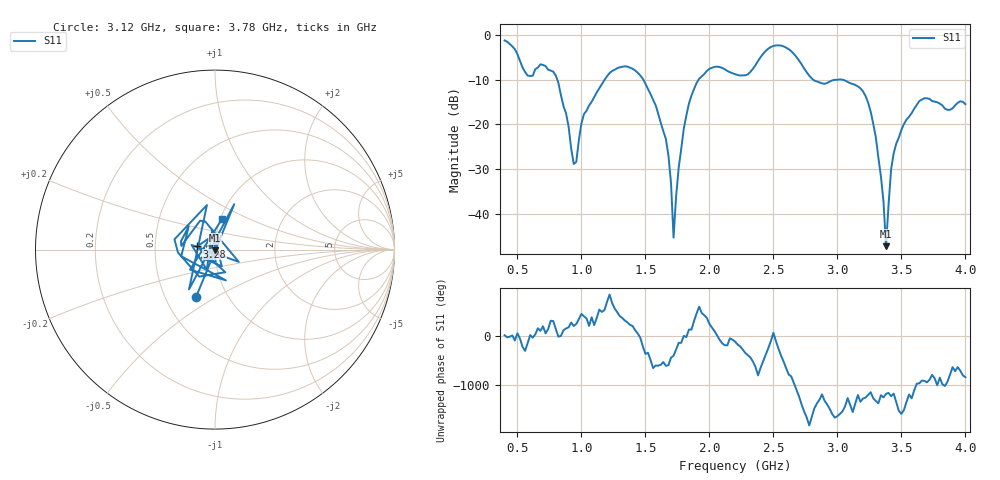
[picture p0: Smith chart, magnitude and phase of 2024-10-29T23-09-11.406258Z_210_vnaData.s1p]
!Created with skrf (http://scikit-rf.org).
# Hz S RI R 50.0
!freq ReS11 ImS11
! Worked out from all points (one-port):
!   181 points, 400 MHz to 4 GHz, reference 50 ohm
!   lowest |S11| = -47.3 dB at 3.38 GHz (marker M1), VSWR 1.01, Z = 49.9 - j0.426 ohm
!   |S11| at or under -10 dB: 810.9 MHz to 1.183 GHz (371.6 MHz wide, 37.3 % of centre); 1.483 GHz to 1.916 GHz (432.8 MHz wide, 25.5 % of centre); 3.029 GHz to end of sweep (the widest 3 of 4)
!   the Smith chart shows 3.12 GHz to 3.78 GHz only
!   S11 on the Smith chart (normalised r, x): 3.12 GHz: 0.71, -0.41; 3.28 GHz: 0.82, +0.03; 3.78 GHz: 1.02, +0.36
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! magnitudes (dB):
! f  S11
! 400 MHz  -1.2
! 580 MHz  -9.1
! 780 MHz  -8.2
! 860 MHz  -15.9
! 940 MHz  -28.9
! 1.02 GHz  -17.7
! 1.3 GHz  -7.3
! 1.58 GHz  -15.8
! 1.68 GHz  -27.0
! 1.7 GHz  -33.1
! 1.72 GHz  -45.4
! 1.76 GHz  -29.8
! 1.82 GHz  -18.0
! 1.9 GHz  -10.8
! 2.2 GHz  -8.8
! 2.5 GHz  -2.5
! 2.66 GHz  -4.3
! 2.82 GHz  -10.2
! 3.1 GHz  -10.8
! 3.12 GHz  -11.0
! 3.28 GHz  -19.9
! 3.34 GHz  -31.7
! 3.38 GHz  -47.3
! 3.42 GHz  -30.0
! 3.44 GHz  -26.5
! 3.56 GHz  -18.3
! 3.78 GHz  -15.1
! 4 GHz  -15.5
